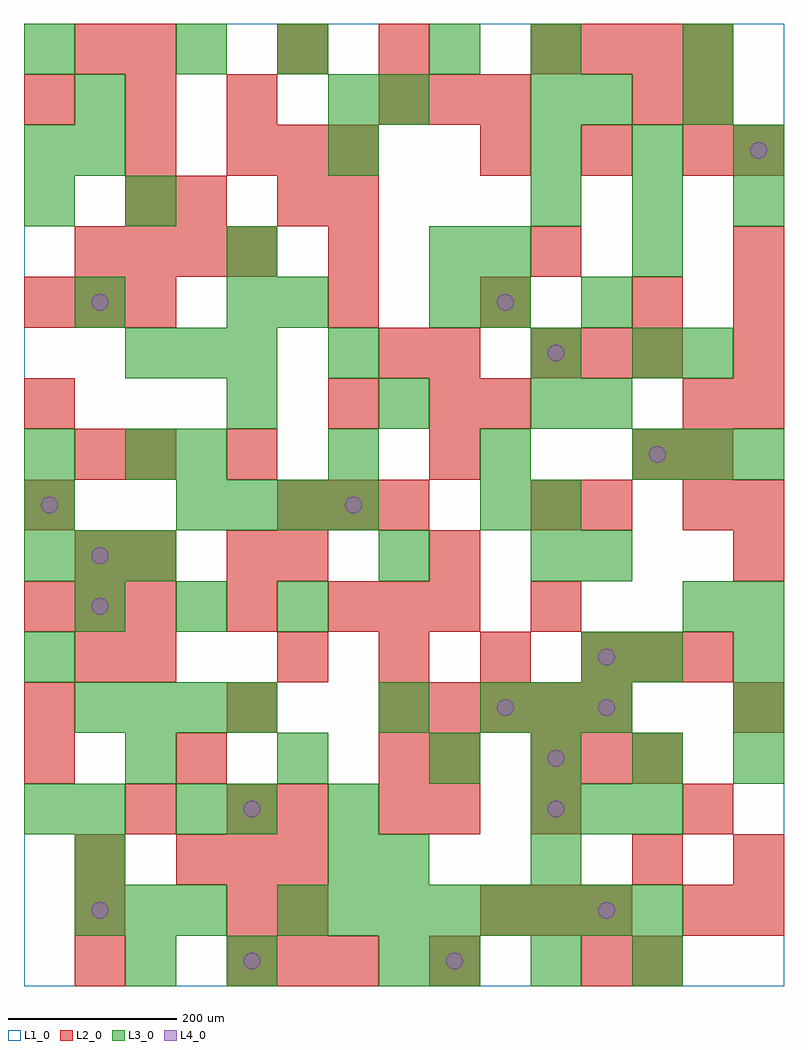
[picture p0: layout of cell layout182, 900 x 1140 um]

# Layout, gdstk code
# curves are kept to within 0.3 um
import gdstk
lib = gdstk.Library(unit=1e-6, precision=1e-09)
def R(c, l, rs):  # rectangles x0, y0, x1, y1
    for r in rs: c.add(gdstk.rectangle(r[:2], r[2:], *l))
def A(c, l, x, y, w, h, nx, ny, dx, dy):  # array of equal rectangles
    R(c, l, [(x+i*dx, y+j*dy, x+i*dx+w, y+j*dy+h) for i in range(nx) for j in range(ny)])
def P(c, l, *ps):  # polygons
    for p in ps: c.add(gdstk.Polygon(p, *l))
L1_0 = (1, 0)
L2_0 = (2, 0)
L3_0 = (3, 0)
L4_0 = (4, 0)

layout182 = lib.new_cell('layout182')
R(layout182, L1_0, [(0,0,900,1140)])
A(layout182, L2_0, 60, 0, 60, 60, 1, 3, 0, 60)
A(layout182, L2_0, 240, 0, 60, 60, 3, 2, 60, 960)
A(layout182, L2_0, 240, 60, 60, 60, 1, 4, 0, 120)
A(layout182, L2_0, 540, 60, 60, 60, 3, 1, 60, 0)
A(layout182, L2_0, 180, 120, 60, 60, 3, 1, 60, 0)
A(layout182, L2_0, 840, 120, 60, 60, 1, 3, 0, 180)
A(layout182, L2_0, 780, 180, 60, 60, 1, 3, 0, 180)
A(layout182, L2_0, 600, 240, 60, 60, 3, 2, 60, 480)
A(layout182, L2_0, 420, 300, 60, 60, 5, 1, 60, 0)
A(layout182, L2_0, 60, 360, 60, 60, 1, 3, 0, 120)
A(layout182, L2_0, 120, 360, 60, 60, 1, 3, 0, 120)
A(layout182, L2_0, 300, 360, 60, 60, 4, 1, 120, 0)
A(layout182, L2_0, 0, 420, 60, 60, 3, 2, 60, 360)
A(layout182, L2_0, 360, 420, 60, 60, 3, 1, 60, 0)
A(layout182, L2_0, 300, 540, 60, 60, 3, 1, 60, 0)
A(layout182, L2_0, 240, 600, 60, 60, 3, 1, 240, 0)
A(layout182, L2_0, 840, 660, 60, 60, 1, 3, 0, 60)
A(layout182, L2_0, 360, 780, 60, 60, 3, 1, 180, 0)
A(layout182, L2_0, 60, 840, 60, 60, 4, 1, 60, 0)
A(layout182, L2_0, 360, 840, 60, 60, 3, 1, 240, 0)
A(layout182, L2_0, 540, 960, 60, 60, 3, 1, 120, 0)
A(layout182, L2_0, 0, 1020, 60, 60, 3, 1, 120, 0)
A(layout182, L2_0, 420, 1020, 60, 60, 3, 1, 60, 0)
A(layout182, L2_0, 600, 1080, 60, 60, 4, 1, 60, 0)
R(layout182, L2_0, [(480,0,540,60), (660,0,720,60), (720,0,780,60), (300,60,360,120), (780,60,840,120), (840,60,900,120), (720,120,780,180), (120,180,180,240), (300,180,360,240), (420,180,480,240), (480,180,540,240), (600,180,660,240), (0,240,60,300), (180,240,240,300), (420,240,480,300), (480,240,540,300), (0,300,60,360), (720,360,780,420), (600,420,660,480), (240,480,300,540), (300,480,360,540), (480,480,540,540), (0,540,60,600), (600,540,660,600), (660,540,720,600), (840,540,900,600), (780,600,840,660), (0,660,60,720), (360,660,420,720), (480,660,540,720), (540,660,600,720), (780,660,840,720), (420,720,480,780), (480,720,540,780), (120,900,180,960), (180,900,240,960), (300,900,360,960), (360,900,420,960), (120,960,180,1020), (840,960,900,1020), (720,1020,780,1080), (780,1020,840,1080), (60,1080,120,1140), (120,1080,180,1140), (300,1080,360,1140), (420,1080,480,1140)])
A(layout182, L3_0, 480, 0, 60, 60, 3, 1, 120, 0)
A(layout182, L3_0, 60, 60, 60, 60, 3, 1, 60, 0)
A(layout182, L3_0, 300, 60, 60, 60, 8, 1, 60, 0)
A(layout182, L3_0, 420, 120, 60, 60, 1, 3, 0, 180)
A(layout182, L3_0, 0, 180, 60, 60, 1, 3, 0, 180)
A(layout182, L3_0, 600, 180, 60, 60, 3, 1, 60, 0)
A(layout182, L3_0, 120, 240, 60, 60, 3, 1, 180, 0)
A(layout182, L3_0, 600, 240, 60, 60, 3, 2, 120, 660)
A(layout182, L3_0, 60, 300, 60, 60, 4, 1, 60, 0)
A(layout182, L3_0, 540, 300, 60, 60, 3, 1, 60, 0)
A(layout182, L3_0, 840, 300, 60, 60, 1, 3, 0, 60)
A(layout182, L3_0, 60, 420, 60, 60, 3, 1, 120, 0)
A(layout182, L3_0, 0, 480, 60, 60, 3, 1, 60, 0)
A(layout182, L3_0, 180, 540, 60, 60, 4, 1, 60, 0)
A(layout182, L3_0, 180, 600, 60, 60, 4, 1, 180, 0)
A(layout182, L3_0, 240, 660, 60, 60, 3, 1, 180, 0)
A(layout182, L3_0, 120, 720, 60, 60, 3, 1, 60, 0)
A(layout182, L3_0, 600, 960, 60, 60, 3, 1, 120, 0)
R(layout182, L3_0, [(120,0,180,60), (240,0,300,60), (420,0,480,60), (60,120,120,180), (360,120,420,180), (600,120,660,180), (60,180,120,240), (180,180,240,240), (240,180,300,240), (360,180,420,240), (660,360,720,420), (720,360,780,420), (780,420,840,480), (600,480,660,540), (660,480,720,540), (540,540,600,600), (600,540,660,600), (0,600,60,660), (120,600,180,660), (780,600,840,660), (840,600,900,660), (660,660,720,720), (360,720,420,780), (600,720,660,780), (720,720,780,780), (780,720,840,780), (60,780,120,840), (240,780,300,840), (300,780,360,840), (480,780,540,840), (540,780,600,840), (660,780,720,840), (240,840,300,900), (480,840,540,900), (540,840,600,900), (720,840,780,900), (0,900,60,960), (120,900,180,960), (0,960,60,1020), (60,960,120,1020), (360,960,420,1020), (60,1020,120,1080), (360,1020,420,1080), (420,1020,480,1080), (600,1020,660,1080), (660,1020,720,1080), (780,1020,840,1080), (0,1080,60,1140), (180,1080,240,1140), (300,1080,360,1140), (480,1080,540,1140), (600,1080,660,1140), (780,1080,840,1140)])
P(layout182, L4_0, [(40,570),(39.239,573.827),(37.071,577.071),(33.827,579.239),(30,580),(26.173,579.239),(22.929,577.071),(20.761,573.827),(20,570),(20.761,566.173),(22.929,562.929),(26.173,560.761),(30,560),(33.827,560.761),(37.071,562.929),(39.239,566.173)],
  [(100,90),(99.239,93.827),(97.071,97.071),(93.827,99.239),(90,100),(86.173,99.239),(82.929,97.071),(80.761,93.827),(80,90),(80.761,86.173),(82.929,82.929),(86.173,80.761),(90,80),(93.827,80.761),(97.071,82.929),(99.239,86.173)],
  [(100,450),(99.239,453.827),(97.071,457.071),(93.827,459.239),(90,460),(86.173,459.239),(82.929,457.071),(80.761,453.827),(80,450),(80.761,446.173),(82.929,442.929),(86.173,440.761),(90,440),(93.827,440.761),(97.071,442.929),(99.239,446.173)],
  [(100,510),(99.239,513.827),(97.071,517.071),(93.827,519.239),(90,520),(86.173,519.239),(82.929,517.071),(80.761,513.827),(80,510),(80.761,506.173),(82.929,502.929),(86.173,500.761),(90,500),(93.827,500.761),(97.071,502.929),(99.239,506.173)],
  [(100,810),(99.239,813.827),(97.071,817.071),(93.827,819.239),(90,820),(86.173,819.239),(82.929,817.071),(80.761,813.827),(80,810),(80.761,806.173),(82.929,802.929),(86.173,800.761),(90,800),(93.827,800.761),(97.071,802.929),(99.239,806.173)],
  [(280,30),(279.239,33.827),(277.071,37.071),(273.827,39.239),(270,40),(266.173,39.239),(262.929,37.071),(260.761,33.827),(260,30),(260.761,26.173),(262.929,22.929),(266.173,20.761),(270,20),(273.827,20.761),(277.071,22.929),(279.239,26.173)],
  [(280,210),(279.239,213.827),(277.071,217.071),(273.827,219.239),(270,220),(266.173,219.239),(262.929,217.071),(260.761,213.827),(260,210),(260.761,206.173),(262.929,202.929),(266.173,200.761),(270,200),(273.827,200.761),(277.071,202.929),(279.239,206.173)],
  [(400,570),(399.239,573.827),(397.071,577.071),(393.827,579.239),(390,580),(386.173,579.239),(382.929,577.071),(380.761,573.827),(380,570),(380.761,566.173),(382.929,562.929),(386.173,560.761),(390,560),(393.827,560.761),(397.071,562.929),(399.239,566.173)],
  [(520,30),(519.239,33.827),(517.071,37.071),(513.827,39.239),(510,40),(506.173,39.239),(502.929,37.071),(500.761,33.827),(500,30),(500.761,26.173),(502.929,22.929),(506.173,20.761),(510,20),(513.827,20.761),(517.071,22.929),(519.239,26.173)],
  [(580,330),(579.239,333.827),(577.071,337.071),(573.827,339.239),(570,340),(566.173,339.239),(562.929,337.071),(560.761,333.827),(560,330),(560.761,326.173),(562.929,322.929),(566.173,320.761),(570,320),(573.827,320.761),(577.071,322.929),(579.239,326.173)],
  [(580,810),(579.239,813.827),(577.071,817.071),(573.827,819.239),(570,820),(566.173,819.239),(562.929,817.071),(560.761,813.827),(560,810),(560.761,806.173),(562.929,802.929),(566.173,800.761),(570,800),(573.827,800.761),(577.071,802.929),(579.239,806.173)],
  [(640,210),(639.239,213.827),(637.071,217.071),(633.827,219.239),(630,220),(626.173,219.239),(622.929,217.071),(620.761,213.827),(620,210),(620.761,206.173),(622.929,202.929),(626.173,200.761),(630,200),(633.827,200.761),(637.071,202.929),(639.239,206.173)],
  [(640,270),(639.239,273.827),(637.071,277.071),(633.827,279.239),(630,280),(626.173,279.239),(622.929,277.071),(620.761,273.827),(620,270),(620.761,266.173),(622.929,262.929),(626.173,260.761),(630,260),(633.827,260.761),(637.071,262.929),(639.239,266.173)],
  [(640,750),(639.239,753.827),(637.071,757.071),(633.827,759.239),(630,760),(626.173,759.239),(622.929,757.071),(620.761,753.827),(620,750),(620.761,746.173),(622.929,742.929),(626.173,740.761),(630,740),(633.827,740.761),(637.071,742.929),(639.239,746.173)],
  [(700,90),(699.239,93.827),(697.071,97.071),(693.827,99.239),(690,100),(686.173,99.239),(682.929,97.071),(680.761,93.827),(680,90),(680.761,86.173),(682.929,82.929),(686.173,80.761),(690,80),(693.827,80.761),(697.071,82.929),(699.239,86.173)],
  [(700,330),(699.239,333.827),(697.071,337.071),(693.827,339.239),(690,340),(686.173,339.239),(682.929,337.071),(680.761,333.827),(680,330),(680.761,326.173),(682.929,322.929),(686.173,320.761),(690,320),(693.827,320.761),(697.071,322.929),(699.239,326.173)],
  [(700,390),(699.239,393.827),(697.071,397.071),(693.827,399.239),(690,400),(686.173,399.239),(682.929,397.071),(680.761,393.827),(680,390),(680.761,386.173),(682.929,382.929),(686.173,380.761),(690,380),(693.827,380.761),(697.071,382.929),(699.239,386.173)],
  [(760,630),(759.239,633.827),(757.071,637.071),(753.827,639.239),(750,640),(746.173,639.239),(742.929,637.071),(740.761,633.827),(740,630),(740.761,626.173),(742.929,622.929),(746.173,620.761),(750,620),(753.827,620.761),(757.071,622.929),(759.239,626.173)],
  [(880,990),(879.239,993.827),(877.071,997.071),(873.827,999.239),(870,1000),(866.173,999.239),(862.929,997.071),(860.761,993.827),(860,990),(860.761,986.173),(862.929,982.929),(866.173,980.761),(870,980),(873.827,980.761),(877.071,982.929),(879.239,986.173)])

lib.write_gds('layout182.gds')
